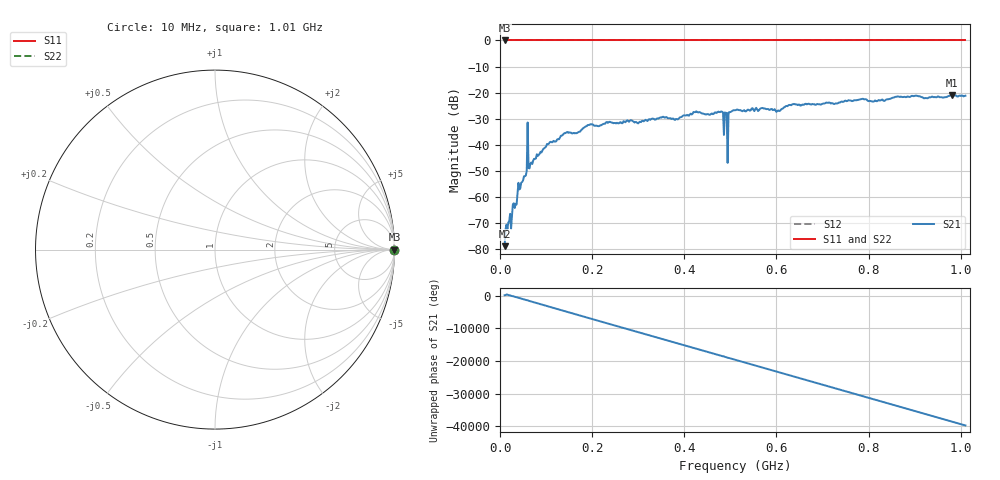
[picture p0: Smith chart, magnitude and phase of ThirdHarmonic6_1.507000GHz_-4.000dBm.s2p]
! 8/16/2025 5:43:36 PM
! C:\ANRITSUVNA\TEMP\TEMP.S2P
! CHANNEL.1
! TR.MEASUREMENT
! RAW.DATA
! RF.CORRECTION.OFF
! AVERAGING.OFF
! IF.BANDWIDTH: 5KHZ
! SWEEPTYPE:  FREQ.SWEEP(Linear)
! Reference Plane Port Info
! PORT:  PORT1  PORT2
! DISTANCE:  0  m  0  m
! TIME:  0  s  0  s
! PHASE.OFFSET:  0  deg.  0  deg.
! LOSS:  0  dB  0  dB
! REF.LOSS:  0  dB  0  dB
! REF.FREQ:  0  Hz  0  Hz
! Power Info
! POWER:  -20  dBm  -20  dBm
! EFF.POWER:  -20  dBm  -20  dBm
! SOURCE.ATTEN:  0  dB  0  dB
! TEST.ATTEN:  0  dB  0  dB
# GHZ S RI R 50.0
! FREQ.GHZ  S11RE  S11IM  S21RE  S21IM  S12RE  S12IM  S22RE  S22IM
!; PortSelection: Port_12
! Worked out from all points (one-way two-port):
!   501 points, 10 MHz to 1.01 GHz, reference 50 ohm
!   highest |S21| = -20.95 dB at 980 MHz (marker M1); lowest = -79.0 dB at 10 MHz (marker M2)
!   lowest |S11| = 0.0 dB at 10 MHz (marker M3)
!   |S11| at or under -10 dB: nowhere
!   |S22| runs from 0.0 to 0.0 dB; largest |S21 - S12| = 1.1
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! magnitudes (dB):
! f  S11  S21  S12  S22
! 10 MHz  0.0  -79.0  0.0  0.0
! 42 MHz  0.0  -57.2  0.0  0.0
! 54 MHz  0.0  -52.1  0.0  0.0
! 56 MHz  0.0  -51.9  0.0  0.0
! 64 MHz  0.0  -49.1  0.0  0.0
! 66 MHz  0.0  -47.2  0.0  0.0
! 106 MHz  0.0  -39.7  0.0  0.0
! 178 MHz  0.0  -34.1  0.0  0.0
! 196 MHz  0.0  -32.2  0.0  0.0
! 344 MHz  0.0  -30.0  0.0  0.0
! 478 MHz  0.0  -27.5  0.0  0.0
! 488 MHz  0.0  -27.6  0.0  0.0
! 490 MHz  0.0  -27.9  0.0  0.0
! 498 MHz  0.0  -27.5  0.0  0.0
! 500 MHz  0.0  -27.5  0.0  0.0
! 510 MHz  0.0  -26.8  0.0  0.0
! 604 MHz  0.0  -26.9  0.0  0.0
! 634 MHz  0.0  -24.5  0.0  0.0
! 678 MHz  0.0  -24.4  0.0  0.0
! 844 MHz  0.0  -22.5  0.0  0.0
! 980 MHz  0.0  -20.9  0.0  0.0
! 1.01 GHz  0.0  -21.2  0.0  0.0
